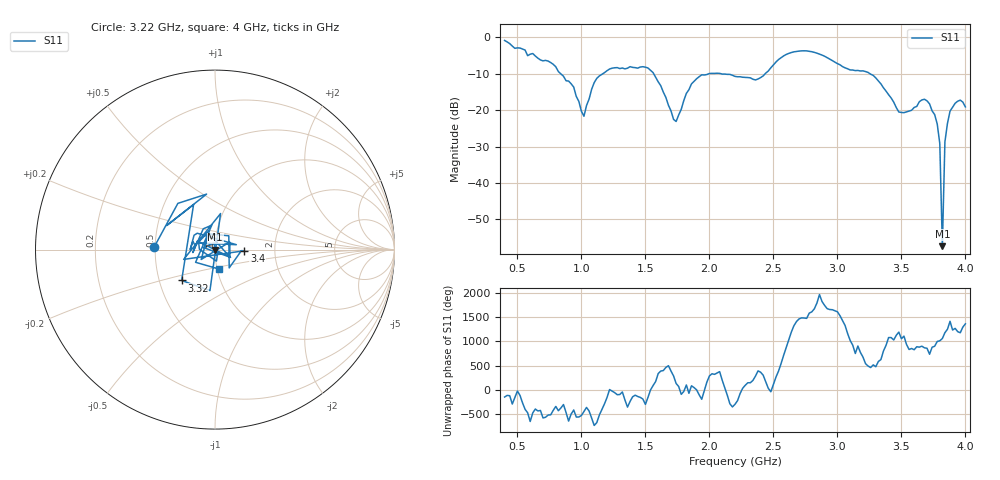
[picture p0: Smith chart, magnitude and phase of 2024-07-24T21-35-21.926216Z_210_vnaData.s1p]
!Created with skrf (http://scikit-rf.org).
# Hz S RI R 50.0
!freq ReS11 ImS11
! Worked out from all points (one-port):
!   181 points, 400 MHz to 4 GHz, reference 50 ohm
!   lowest |S11| = -57.4 dB at 3.82 GHz (marker M1), VSWR 1.00, Z = 50.1 - j0.0505 ohm
!   |S11| at or under -10 dB: 1.565 GHz to 1.994 GHz (428.3 MHz wide, 24.1 % of centre); 2.093 GHz to 2.435 GHz (341.8 MHz wide, 15.1 % of centre); 3.256 GHz to end of sweep (the widest 3 of 4)
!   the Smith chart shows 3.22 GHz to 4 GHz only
!   S11 on the Smith chart (normalised r, x): 3.22 GHz: 0.49, +0.01; 3.32 GHz: 0.65, -0.24; 3.4 GHz: 1.39, -0.02; 4 GHz: 1.02, -0.22
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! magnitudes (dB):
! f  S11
! 400 MHz  -0.8
! 860 MHz  -10.7
! 940 MHz  -13.7
! 1.02 GHz  -21.7
! 1.12 GHz  -11.3
! 1.3 GHz  -8.5
! 1.52 GHz  -8.4
! 1.72 GHz  -22.5
! 1.76 GHz  -21.3
! 1.86 GHz  -12.8
! 1.94 GHz  -10.3
! 2.2 GHz  -10.7
! 2.38 GHz  -11.4
! 2.66 GHz  -3.9
! 3.1 GHz  -8.9
! 3.22 GHz  -9.4
! 3.32 GHz  -11.9
! 3.4 GHz  -15.7
! 3.48 GHz  -20.5
! 3.56 GHz  -20.3
! 3.68 GHz  -17.0
! 3.78 GHz  -23.8
! 3.8 GHz  -29.2
! 3.82 GHz  -57.4
! 3.84 GHz  -28.7
! 3.86 GHz  -23.6
! 3.92 GHz  -18.1
! 4 GHz  -19.1
